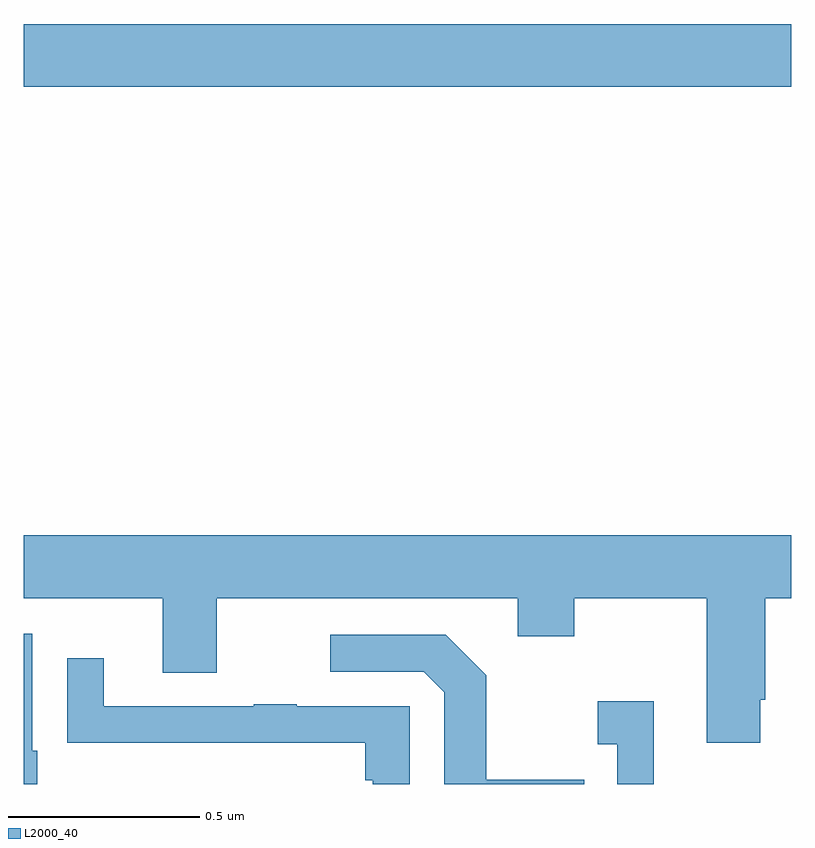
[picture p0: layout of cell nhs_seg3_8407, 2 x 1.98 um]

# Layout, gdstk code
import gdstk
lib = gdstk.Library(unit=1e-6, precision=1e-09)
def R(c, l, rs):  # rectangles x0, y0, x1, y1
    for r in rs: c.add(gdstk.rectangle(r[:2], r[2:], *l))
def P(c, l, *ps):  # polygons
    for p in ps: c.add(gdstk.Polygon(p, *l))
L2000_40 = (2000, 40)

nhs_seg3_8407 = lib.new_cell('nhs_seg3_8407')
R(nhs_seg3_8407, L2000_40, [(215,734.216,217,734.38)])
P(nhs_seg3_8407, L2000_40, [(216.919,732.619),(216.932,732.619),(216.932,732.884),(217,732.884),(217,733.048),(215,733.048),(215,732.884),(215.363,732.884),(215.363,732.69),(215.503,732.69),(215.503,732.884),(216.287,732.884),(216.287,732.785),(216.435,732.785),(216.435,732.884),(216.779,732.884),(216.779,732.507),(216.919,732.507)],
  [(215.035,732.487),(215.022,732.487),(215.022,732.792),(215,732.792),(215,732.4),(215.035,732.4)],
  [(216.461,732.411),(216.205,732.411),(216.205,732.683),(216.099,732.789),(215.799,732.789),(215.799,732.693),(216.042,732.693),(216.096,732.639),(216.096,732.4),(216.461,732.4)],
  [(216.006,732.603),(215.711,732.603),(215.711,732.608),(215.599,732.608),(215.599,732.603),(215.209,732.603),(215.209,732.727),(215.113,732.727),(215.113,732.508),(215.215,732.508),(215.215,732.507),(215.89,732.507),(215.89,732.41),(215.91,732.41),(215.91,732.4),(216.006,732.4)],
  [(216.642,732.616),(216.495,732.616),(216.495,732.503),(216.546,732.503),(216.546,732.4),(216.642,732.4)])

lib.write_gds('nhs_seg3_8407.gds')
